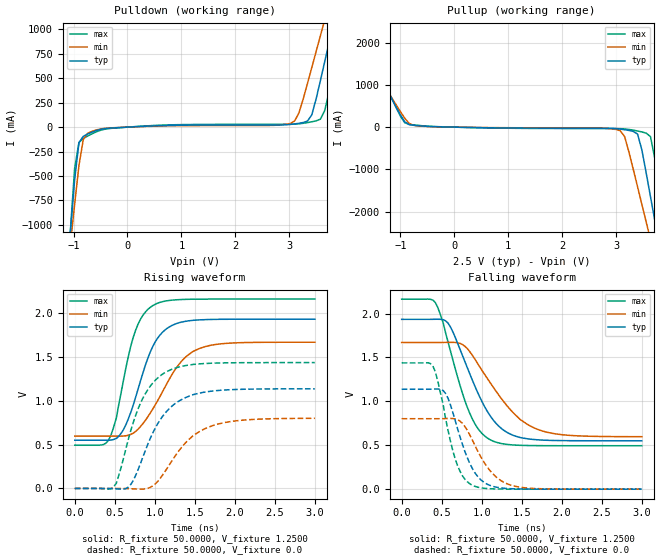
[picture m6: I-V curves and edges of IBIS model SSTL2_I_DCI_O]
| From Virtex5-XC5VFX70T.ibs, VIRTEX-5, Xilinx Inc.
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|   Model SSTL2_I_DCI_O
[Model]  SSTL2_I_DCI_O
Model_type Output
Polarity   Non-Inverting
Enable   Active-Low
Vmeas =  1.2500V
Cref =   0.0F
Rref =   50.0000
Vref =   1.2500V
C_comp   6.0000pF   6.0000pF   6.0000pF
[Temperature Range]   25.0000   85.0000   0.0
[Voltage Range]   2.5000V   2.3000V   2.7000V
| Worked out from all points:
|   slope of the pulldown table from 0 to 0.375 V, typ, clamps not added: 36.6 ohm
|   slope of the pullup table from 0 to 0.375 V, typ, clamps not added: 38.4 ohm
|   rising waveform, R_fixture 50.0000, V_fixture 1.2500: 20-80 % time 312ps typ, 429ps min, 246ps max; typ from 0.551 V to 1.93 V
|   rising waveform, R_fixture 50.0000, V_fixture 0.0: 20-80 % time 382ps typ, 440ps min, 337ps max; typ from 0 V to 1.14 V
|   falling waveform, R_fixture 50.0000, V_fixture 1.2500: 20-80 % time 411ps typ, 528ps min, 333ps max; typ from 1.93 V to 0.551 V
|   falling waveform, R_fixture 50.0000, V_fixture 0.0: 20-80 % time 262ps typ, 318ps min, 220ps max; typ from 1.14 V to 0 V
[Pulldown]
|Voltage   I(typ)   I(min)   I(max)
-2.5V     -11.29A    -8.708A    -13.54A
-1.06V    -1.081A    -1.202A    -1.069A
-980mV    -538mA     -790.7mA   -422.1mA
-900mV    -159.2mA   -392.8mA   -156mA
-820mV    -94.03mA   -126.9mA   -117.1mA
-580mV    -35.6mA    -29.09mA   -48.48mA
3.1V      32.7mA     61.8mA     30.75mA
3.42V     125.4mA    609.2mA    54.43mA
3.58V     475.9mA    935mA      81.59mA
3.82V     1.057A     1.424A     570.8mA
3.98V     1.446A     1.75A      1.003A
4.94V     3.78A      3.709A     3.606A
[Pullup]
|Voltage   I(typ)   I(min)   I(max)
-2.44V    3.781A     3.3A       4.149A
-2.04V    2.807A     2.484A     3.063A
-1.8V     2.224A     1.994A     2.412A
-840mV    61.33mA    90.6mA     66.41mA
3.08V     -45.79mA   -86.4mA    -36.93mA
3.4V      -164.6mA   -1.411A    -91mA
3.56V     -1.084A    -2.244A    -141.3mA
3.64V     -1.645A    -2.661A    -224.3mA
3.72V     -2.211A    -3.078A    -745.1mA
3.88V     -3.346A    -3.911A    -2.095A
3.96V     -3.913A    -4.328A    -2.787A
5V        -11.29A    -9.753A    -11.81A
[Ramp]
| variable   typ   min   max
dV/dt_r  0.6828/0.3810n   0.4810/0.4399n   0.8628/0.3354n
dV/dt_f  0.6378/0.5351n   0.4848/0.6326n   0.8238/0.4721n
R_load = 50.0000
[Rising Waveform]
R_fixture= 50.0000
V_fixture= 1.2500
V_fixture_min= 1.1500
V_fixture_max= 1.3500
|time   V(typ)   V(min)   V(max)
0s        550.9mV    597.3mV    494.8mV
420ps     551.2mV    597.3mV    549.4mV
520ps     571.6mV    597.2mV    807.6mV
580ps     631.8mV    597.7mV    1.1V
730ps     952.3mV    631.3mV    1.725V
820ps     1.226V     706.5mV    1.932V
970ps     1.614V     900.9mV    2.087V
1.3ns     1.893V     1.416V     2.157V
1.55ns    1.926V     1.596V     2.163V
3ns       1.934V     1.671V     2.164V
[Rising Waveform]
R_fixture= 50.0000
V_fixture= 0.0
|time   V(typ)   V(min)   V(max)
0s        5.331uV    6.806uV    4.828uV
480ps     -2.408mV   14.5uV     11.54mV
520ps     -4.365mV   -3.621uV   61.58mV
670ps     17.04mV    -2.265mV   564.2mV
820ps     282.7mV    -7.749mV   972.1mV
1ns       679.7mV    48.1mV     1.23V
1.15ns    882.9mV    225mV      1.335V
1.42ns    1.052V     554.3mV    1.409V
1.73ns    1.114V     719.8mV    1.432V
3ns       1.138V     801.5mV    1.438V
[Falling Waveform]
R_fixture= 50.0000
V_fixture= 1.2500
V_fixture_min= 1.1500
V_fixture_max= 1.3500
|time   V(typ)   V(min)   V(max)
0s        1.934V     1.671V     2.164V
420ps     1.935V     1.671V     2.126V
520ps     1.93V      1.671V     1.891V
580ps     1.89V      1.672V     1.675V
820ps     1.384V     1.602V     933.6mV
940ps     1.121V     1.445V     707.8mV
1.09ns    857.6mV    1.234V     571mV
1.33ns    639.7mV    935mV      508.6mV
1.7ns     562.1mV    680.9mV    495.8mV
3ns       551mV      597.6mV    494.8mV
[Falling Waveform]
R_fixture= 50.0000
V_fixture= 0.0
|time   V(typ)   V(min)   V(max)
0s        1.138V     802.4mV    1.438V
390ps     1.139V     802.4mV    1.403V
450ps     1.141V     802.3mV    1.237V
550ps     1.088V     803.9mV    798.6mV
670ps     778mV      800.2mV    341.4mV
760ps     509.7mV    748.9mV    152.4mV
880ps     241.6mV    565mV      46.22mV
1.12ns    37.48mV    194.5mV    4.431mV
1.39ns    4.657mV    38.89mV    436.9uV
3ns       74.71uV    143.2uV    32.73uV
